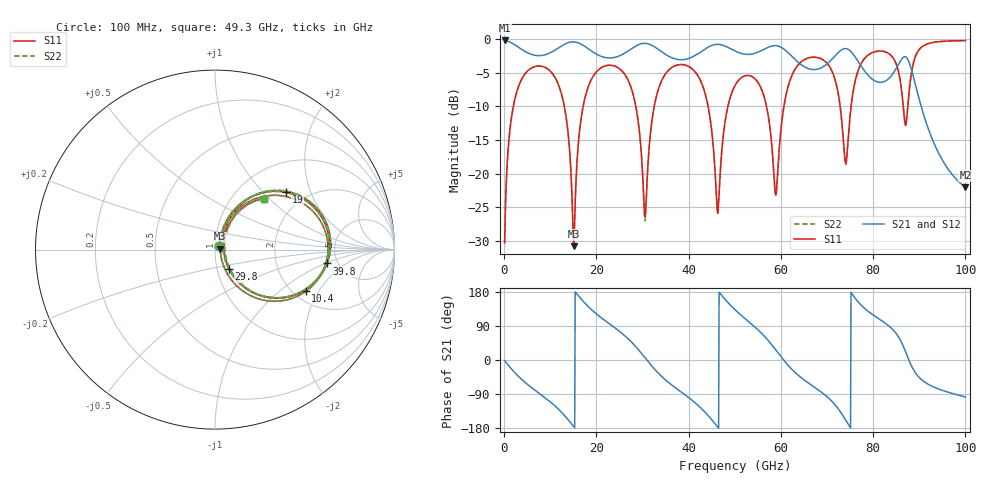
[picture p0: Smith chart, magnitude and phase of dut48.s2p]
! Touchstone file exported from HFSS 2026.1.0
!  File:  C:/ffzhzh/LocalFiles/Ansys_Project_Files/temp_train_TSV_RDL_48_1783444919_50928.aedt
!  Generated:  01:35:13 AM Jul  8, 2026
!  Design:  TSV_RDL
!  Project:  temp_train_TSV_RDL_48_1783444919_50928
! Variables:
!  h_bsmrdl = 4.74um
!  h_ox = 20um
!  h_rdl = 5um
!  h_sub = 97.79um
!  h_tmrdl = 2.73um
!  h_tsv = 97.79um
!  h_via = 3um
!  l_bsmrdl = 426.98um
!  l_sub = 3644.09um
!  l_tmrdl = 470.23um
!  m_sub = 200um
!  pitch = 57.05um
!  r_tsv = 9.53um
!  s_tmrdl = 10um
!  w_bsmrdl = 10.59um
!  w_sub = 500um
!  w_tmrdl = 16.82um
!  x_tsv_center1 = 478.64um
!  x_tsv_center2 = 916.21um
!  x_tsv_center3 = 1403.26um
!  x_tsv_center4 = 1840.83um
!  x_tsv_center5 = 2327.88um
!  x_tsv_center6 = 2765.45um
# GHz S MA R 50.000000
! Terminal data exported
! Port[1] = TM_RDL1_1_T1
! Port[2] = TM_RDL5_1_T1
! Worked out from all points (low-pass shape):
!   1000 points, 100 MHz to 100 GHz, reference 50 ohm
!   highest |S21| = -0.22 dB at 100 MHz (marker M1); lowest = -22.0 dB at 100 GHz (marker M2)
!   |S21| within 3 dB of the highest: start of sweep to 63.34 GHz; 70.76 GHz to 76.63 GHz (5.873 GHz wide, 7.97 % of centre) (the widest 2 of 3)
!   lowest |S11| = -30.8 dB at 15.1 GHz (marker M3), VSWR 1.06, Z = 52.9 + j0.493 ohm
!   |S11| at or under -10 dB: 13.04 GHz to 17.13 GHz (4.086 GHz wide, 27.1 % of centre); 28.54 GHz to 32.54 GHz (3.993 GHz wide, 13.1 % of centre); 44.21 GHz to 48.52 GHz (4.309 GHz wide, 9.29 % of centre) (the widest 3 of 7)
!   |S22| runs from -30.7 to -0.2 dB; largest |S21 - S12| = 3.6e-14
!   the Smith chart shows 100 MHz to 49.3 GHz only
!   S11 on the Smith chart (normalised r, x): 100 MHz: 1.05, +0.04; 10.4 GHz: 2.31, -1.56; 19 GHz: 1.59, +1.36; 29.8 GHz: 1.14, -0.25; 39.8 GHz: 4.12, -1.05; 49.3 GHz: 1.39, +0.93
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0.1  0.03049 34.8  0.9753 -1.6  0.9753 -1.6  0.03049 34.8
! Gamma 0 0 0 0
! Port Impedance 50 0 50 0
2.9  0.4223 45.4  0.878 -40.8  0.878 -40.8  0.4223 45.4
10.4  0.5567 -24.7  0.8033 -114.5  0.8033 -114.5  0.5567 -24.7
15.1  0.02889 9.3  0.9526 -175.8  0.9526 -175.8  0.02929 9.2
16.8  0.2723 62.6  0.9111 159.5  0.9111 159.5  0.2724 62.5
19  0.5073 39.0  0.8112 132.2  0.8112 132.2  0.5073 38.9
26.4  0.5295 -26.7  0.7954 61.4  0.7954 61.4  0.5295 -26.9
29.8  0.1328 -53.6  0.9232 17.1  0.9232 17.1  0.1318 -54.8
30.7  0.05441 32.4  0.9277 3.6  0.9277 3.6  0.05163 34.1
33.4  0.4191 49.7  0.8378 -34.4  0.8378 -34.4  0.4188 50.1
39.8  0.6299 -7.0  0.7135 -97.3  0.7135 -97.3  0.6299 -6.7
46.3  0.05066 4.6  0.9132 -176.8  0.9132 -176.8  0.05484 4.6
49.3  0.3933 46.2  0.8384 141.7  0.8384 141.7  0.3938 45.8
50.1  0.4538 38.3  0.8122 132.2  0.8122 132.2  0.4542 38.0
56  0.4061 -16.5  0.8273 68.3  0.8273 68.3  0.4063 -16.6
59.5  0.1309 73.3  0.8845 16.8  0.8845 16.8  0.1304 73.3
66.7  0.7315 22.3  0.5941 -67.0  0.5941 -67.0  0.7311 22.2
74.6  0.1849 59.3  0.8368 -169.6  0.8368 -169.6  0.1831 60.2
83.4  0.7791 3.0  0.5089 89.9  0.5089 89.9  0.7797 3.4
87.4  0.2805 42.6  0.716 10.1  0.716 10.1  0.2903 41.3
91.7  0.9177 19.8  0.228 -62.3  0.228 -62.3  0.9183 19.5
100  0.9724 -9.8  0.07927 -97.7  0.07927 -97.7  0.9725 -9.9
